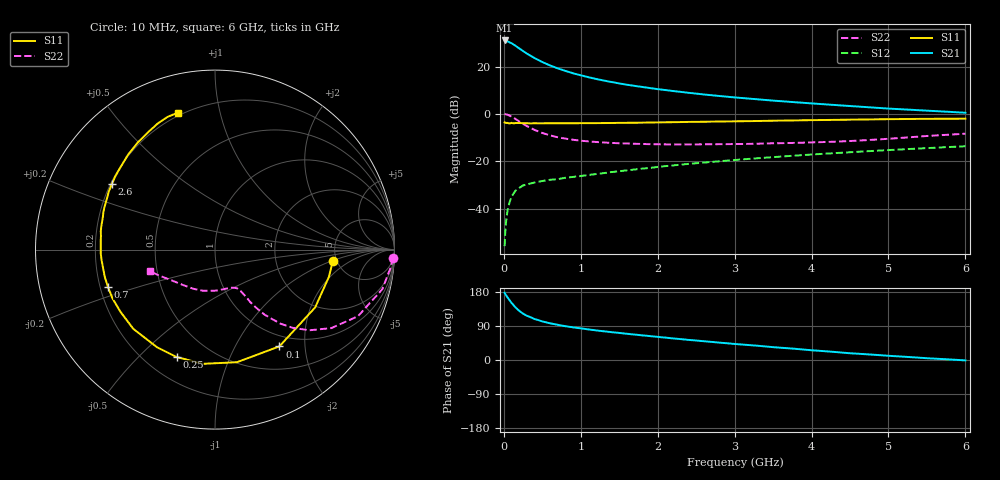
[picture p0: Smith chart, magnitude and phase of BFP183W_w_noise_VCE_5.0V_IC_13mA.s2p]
! (c) 2017  Infineon Technologies AG, Munich
! Infineon Technologies  Discrete & RF Semiconductors
! BFP183W
! VCE =  5.0 V,  IC =  13 mA
! Common Emitter S-Parameters:  Jan 2017
# GHz  S  MA  R  50
!  f  S11  S21  S12  S22
! GHz  MAG  ANG  MAG  ANG  MAG  ANG  MAG  ANG
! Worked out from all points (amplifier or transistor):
!   77 points, 10 MHz to 6 GHz, reference 50 ohm
!   highest |S21| = 31.0 dB at 10 MHz (marker M1)
!   |S21| within 3 dB of that: start of sweep to 184.5 MHz
!   unconditionally stable (mu >= 1): 1.46 GHz to 3.828 GHz
!   at 130 MHz: K = 0.17, MSG = 31.3 dB, |S12| = -33.5 dB
!   at 2.2 GHz: K = 1.06, MAG = 14.2 dB, |S12| = -21.8 dB
!   at 6 GHz: K = 0.86, MSG = 7.1 dB, |S12| = -13.7 dB
!   lowest NFmin = 1.01 dB at 450 MHz
!   S11 on the Smith chart (normalised r, x): 10 MHz: 4.65, -1.00; 100 MHz: 0.83, -1.54; 250 MHz: 0.33, -0.65; 700 MHz: 0.23, -0.16; 2.6 GHz: 0.21, +0.28; 6 GHz: 0.18, +0.75
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0.01  0.6596 -5.3  35.51 177.5  0.0016 84.1  0.9902 -2.6
0.02  0.6526 -13.4  35.32 173.5  0.0035 93.0  0.9854 -5.5
0.05  0.6445 -30.0  33.98 164.5  0.0094 76.3  0.958 -13.3
0.1  0.6476 -56.4  31.11 150.5  0.0177 68.2  0.8794 -24.9
0.15  0.6392 -79.0  27.55 139.0  0.0237 57.3  0.7821 -34.0
0.2  0.6399 -96.0  24.13 129.7  0.0272 53.2  0.6922 -40.5
0.25  0.6356 -109.7  21.21 122.3  0.0307 47.4  0.6142 -45.2
0.3  0.6328 -120.6  18.69 116.6  0.0323 45.1  0.5495 -48.6
0.4  0.6342 -135.9  15.02 108.0  0.0354 41.7  0.4558 -52.7
0.5  0.6306 -146.6  12.41 101.8  0.0381 41.2  0.3941 -54.8
0.6  0.6327 -154.7  10.56 96.9  0.0404 40.7  0.3514 -56.1
0.7  0.6317 -161.0  9.138 92.9  0.0417 42.3  0.3202 -56.6
0.9  0.6319 -170.8  7.19 86.2  0.0465 44.4  0.2833 -57.8
1.1  0.637 -178.0  5.943 80.8  0.051 46.6  0.2623 -58.8
1.3  0.6385 175.8  5.044 75.8  0.0559 48.0  0.2484 -60.4
1.5  0.6449 170.7  4.392 71.4  0.0613 50.0  0.2391 -62.8
2.1  0.6623 156.9  3.178 59.1  0.0785 52.6  0.2266 -73.2
2.6  0.6806 147.6  2.566 49.5  0.0933 52.5  0.2269 -84.6
3.1  0.6978 139.1  2.156 40.8  0.109 51.9  0.2309 -96.7
4.1  0.7388 124.4  1.619 24.3  0.1413 48.6  0.2518 -121.8
5.1  0.774 113.5  1.266 9.9  0.1749 43.6  0.305 -147.1
6  0.7903 105.3  1.055 -1.1  0.2068 38.3  0.3808 -161.4
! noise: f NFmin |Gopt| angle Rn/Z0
0.45  1.01  0.12  144  0.1
0.9  1.04  0.19  155  0.09
1.9  1.52  0.38  -172  0.08
2.4  1.75  0.44  -164  0.1
